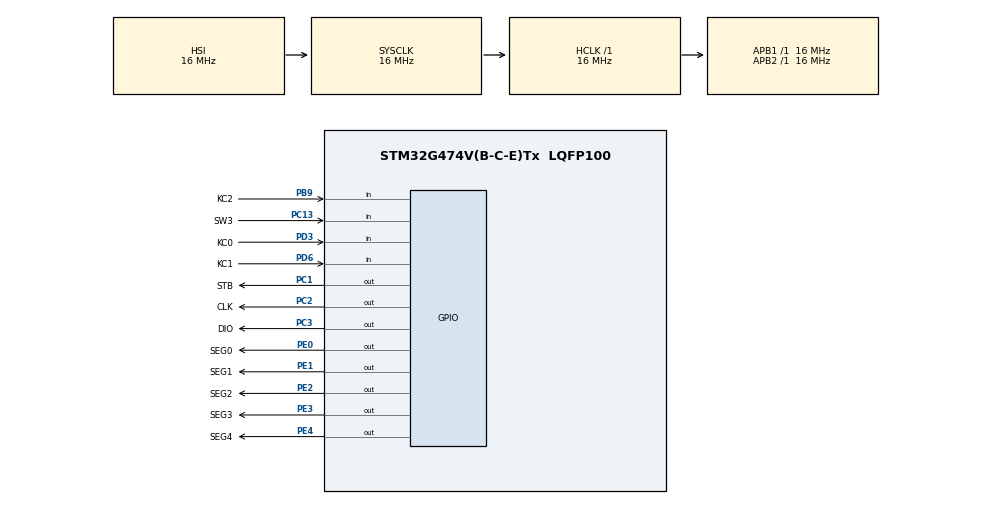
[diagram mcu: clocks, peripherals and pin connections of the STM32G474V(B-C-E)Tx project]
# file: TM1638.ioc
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Mcu.Family=STM32G4
Mcu.Name=STM32G474V(B-C-E)Tx
Mcu.Package=LQFP100
NVIC.PriorityGroup=NVIC_PRIORITYGROUP_4
PB9.GPIO_Label=KC2
PB9.GPIO_PuPd=GPIO_PULLDOWN
PB9.Signal=GPIO_Input
PC1.GPIO_Label=STB
PC1.Signal=GPIO_Output
PC13.GPIO_Label=SW3
PC13.GPIO_PuPd=GPIO_PULLUP
PC13.Signal=GPIO_Input
PC2.GPIO_Label=CLK
PC2.Signal=GPIO_Output
PC3.GPIO_Label=DIO
PC3.Signal=GPIO_Output
PD3.GPIO_Label=KC0
PD3.GPIO_PuPd=GPIO_PULLDOWN
PD3.Signal=GPIO_Input
PD6.GPIO_Label=KC1
PD6.GPIO_PuPd=GPIO_PULLDOWN
PD6.Signal=GPIO_Input
PE0.GPIO_Label=SEG0
PE0.Signal=GPIO_Output
PE1.GPIO_Label=SEG1
PE1.Signal=GPIO_Output
PE2.GPIO_Label=SEG2
PE2.Signal=GPIO_Output
PE3.GPIO_Label=SEG3
PE3.Signal=GPIO_Output
PE4.GPIO_Label=SEG4
PE4.Signal=GPIO_Output
ProjectManager.HeapSize=0x200
ProjectManager.StackSize=0x400
ProjectManager.TargetToolchain=STM32CubeIDE
RCC.AHBFreq_Value=16000000
RCC.APB1Freq_Value=16000000
RCC.APB1TimFreq_Value=16000000
RCC.APB2Freq_Value=16000000
RCC.APB2TimFreq_Value=16000000
RCC.CortexFreq_Value=16000000
RCC.EXTERNAL_CLOCK_VALUE=12288000
RCC.HCLKFreq_Value=16000000
RCC.HSE_VALUE=8000000
RCC.HSI48_VALUE=48000000
RCC.HSI_VALUE=16000000
RCC.LSE_VALUE=32768
RCC.SYSCLKFreq_VALUE=16000000
RCC.USBFreq_Value=64000000
RCC.VCOOutputFreq_Value=128000000
board=custom

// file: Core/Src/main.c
/* USER CODE BEGIN Header */
/**
  ******************************************************************************
  * @file           : main.c
  * @brief          : Main program body
  ******************************************************************************
  * @attention
  *
  * Copyright (c) 2025 STMicroelectronics.
  * All rights reserved.
  *
  * This software is licensed under terms that can be found in the LICENSE file
  * in the root directory of this software component.
  * If no LICENSE file comes with this software, it is provided AS-IS.
  *
  ******************************************************************************
  */
/* USER CODE END Header */
#include "main.h"
#include <stdbool.h>

void SystemClock_Config(void);
static void MX_GPIO_Init(void);

/* USER CODE BEGIN 0 */
#define DATA_SET 0x44
#define DATA_READ 0x42 /////////
#define DISPLAY_ON 0x88
#define DISPLAY_OFF 0x80

uint8_t code[] ={
		0x3F,0x06,0x5B,0x4F,
		0x66,0x6D,0x7D,0x07,
		0x7F,0x67,0x77,0x7C,
		0x39,0x5E,0x79,0x71,
		0x40,0x00
};
int previous_numbers[]={0,0,0,0,0,0,0,0,0,0,0,0,0,0,0,0,0};
int counter_numbers[]={0,0,0,0,0,0,0,0,0,0,0,0,0,0,0,0,0};    //Debouncing

typedef struct
{
    GPIO_TypeDef *clk_port;
    GPIO_TypeDef *dio_port;
    GPIO_TypeDef *stb_port;
    uint16_t clk_pin, dio_pin, stb_pin;
} TM1638;

void tm1638_SendData(TM1638 *tm, uint8_t Data)
{
    uint8_t ByteData[8] = {0};
    // convert data to bit array
    for (uint8_t j = 0; j < 8; j++)
    {
        ByteData[j] = (Data & (0x01 << j)) && 1;
    }
    // send bit array
    for (int8_t j = 0; j < 8; j++)
    {
    	HAL_GPIO_WritePin(tm->clk_port, tm->clk_pin, GPIO_PIN_RESET);
        if (ByteData[j] == GPIO_PIN_SET)
        {
        	HAL_GPIO_WritePin(tm->dio_port, tm->dio_pin, GPIO_PIN_SET);
        }
        else
        {
        	HAL_GPIO_WritePin(tm->dio_port, tm->dio_pin, GPIO_PIN_RESET);
        }
        HAL_GPIO_WritePin(tm->clk_port, tm->clk_pin, GPIO_PIN_SET);
    }
}
void tm1638_SendCommand(TM1638 *tm, uint8_t Data){
	HAL_GPIO_WritePin(tm->stb_port, tm->stb_pin, GPIO_PIN_SET);
	HAL_GPIO_WritePin(tm->stb_port, tm->stb_pin, GPIO_PIN_RESET);
	tm1638_SendData(tm, Data);
	HAL_GPIO_WritePin(tm->stb_port, tm->stb_pin, GPIO_PIN_SET);
}
void tm1638_SendAddress(TM1638 *tm, uint8_t Data, uint8_t address){
	HAL_GPIO_WritePin(tm->stb_port, tm->stb_pin, GPIO_PIN_SET);
	HAL_GPIO_WritePin(tm->stb_port, tm->stb_pin, GPIO_PIN_RESET);
	tm1638_SendData(tm, address);
	tm1638_SendData(tm, Data);
	HAL_GPIO_WritePin(tm->stb_port, tm->stb_pin, GPIO_PIN_SET);
}

//something else

void tm1638_segInit(TM1638 *tm){
	tm1638_SendCommand(tm, DATA_SET);
	tm1638_SendAddress(tm, 0x00, 0xC8);
	tm1638_SendAddress(tm, 0x00, 0xC9);
	tm1638_SendAddress(tm, 0x00, 0xCA);
	tm1638_SendAddress(tm, 0x00, 0xCB);
	tm1638_SendAddress(tm, 0x00, 0xCC);
	tm1638_SendAddress(tm, 0x00, 0xCD);
	tm1638_SendAddress(tm, 0x00, 0xCE);
	tm1638_SendAddress(tm, 0x00, 0xCF);
	tm1638_SendCommand(tm, 0x80);
}
void tm1638_display(TM1638 *tm, uint8_t *numbers){
	tm1638_SendCommand(tm, DATA_SET);
	tm1638_SendAddress(tm, code[numbers[3]], 0xC0);
	tm1638_SendAddress(tm, 0x00, 0xC1);
	tm1638_SendAddress(tm, code[numbers[2]], 0xC2);
	tm1638_SendAddress(tm, 0x00, 0xC3);
	tm1638_SendAddress(tm, code[numbers[1]], 0xC4);
	tm1638_SendAddress(tm, 0x00, 0xC5);
	tm1638_SendAddress(tm, code[numbers[0]], 0xC6);
	tm1638_SendAddress(tm, 0x00, 0xC7);
	tm1638_SendCommand(tm, 0x8B);
}
//Read key function
int tm1638_ReadKey(TM1638 *tm){
	GPIO_InitTypeDef GPIO_InitStruct = {0};
	int a[32] = {0,0,0};
	HAL_GPIO_WritePin(tm->stb_port, tm->stb_pin, GPIO_PIN_SET);
	HAL_GPIO_WritePin(tm->stb_port, tm->stb_pin, GPIO_PIN_RESET);
	tm1638_SendData(tm, DATA_READ);

	int key = -1;

  GPIO_InitStruct.Pin = tm->dio_pin;
  GPIO_InitStruct.Mode = GPIO_MODE_INPUT;
  HAL_GPIO_Init(tm->dio_port, &GPIO_InitStruct);
	//pause for more than 1 us
  for(int i=0;i<4;++i){
  	HAL_GPIO_WritePin(tm->clk_port, tm->clk_pin, GPIO_PIN_SET);
  	for(int j=0;j<8;++j){
  		HAL_GPIO_WritePin(tm->clk_port, tm->clk_pin, GPIO_PIN_SET);
  		a[i * 8 + j] = HAL_GPIO_ReadPin(tm->dio_port, tm->dio_pin);
  		HAL_GPIO_WritePin(tm->clk_port, tm->clk_pin, GPIO_PIN_RESET);
  	}
  }
	HAL_GPIO_WritePin(tm->clk_port, tm->clk_pin, GPIO_PIN_SET);
	HAL_GPIO_WritePin(tm->stb_port, tm->stb_pin, GPIO_PIN_SET);

	HAL_GPIO_WritePin(tm->stb_port, tm->stb_pin, GPIO_PIN_SET);
  GPIO_InitStruct.Mode = GPIO_MODE_OUTPUT_PP;
  HAL_GPIO_Init(tm->dio_port, &GPIO_InitStruct);

	for(int k=0;k<4;k++){
		if(a[k*8+1]!=previous_numbers[k]){
			counter_numbers[k]++;
			if(counter_numbers[k] == 10){
				previous_numbers[k] = a[k*8+1];
					if(a[k*8+1])key=k;
			}
		}else counter_numbers[k]=0;
	}
	for(int k=0;k<4;k++){
		if(a[k*8+5]!=previous_numbers[k]){
			counter_numbers[k+4]++;
			if(counter_numbers[k+4] == 10){
				previous_numbers[k+4] = a[k*8+5];
					if(a[k*8+5])key=k+4;
			}
		}else counter_numbers[k+4]=0;
	}
	//***************************************
	for(int row=3 ;row<5;row++){
		set_keyboard_row(row);
  	int a = HAL_GPIO_ReadPin(KC0_GPIO_Port, KC0_Pin);
  	int b = HAL_GPIO_ReadPin(KC1_GPIO_Port, KC1_Pin);
  	int c = HAL_GPIO_ReadPin(KC2_GPIO_Port, KC2_Pin);
  	int aa = row*3+1;
  	int bb = row*3+2;
  	int cc = row*3+3;

  	if(a != previous_numbers[aa]){
  		counter_numbers[aa]+=1;
  		if(counter_numbers[aa] == 10){
  			previous_numbers[aa] = a;
  				if(a)key= aa;
  		}
  	}else counter_numbers[aa]=0;

  	if(b != previous_numbers[bb]){
  		counter_numbers[bb]+=1;
  		if(counter_numbers[bb] == 10){
  			previous_numbers[bb] = b;
  				if(b)key = bb;
  		}
  	}else counter_numbers[bb]=0;

  	if(c != previous_numbers[cc]){
  		counter_numbers[cc]+=1;
  		if(counter_numbers[cc] == 10){
  			previous_numbers[cc] = c;
  				if(c)key = cc;
  		}
  	}else counter_numbers[cc]=0;
	}
	// 16th button pullup mode
	int temp = HAL_GPIO_ReadPin(SW3_GPIO_Port, SW3_Pin);
	if(temp != previous_numbers[16]){
		counter_numbers[16]+=1;
		if(counter_numbers[16]==10){
			previous_numbers[16] = temp;
			if(!temp)key= 16;
		}
	}else counter_numbers[16] = 0;

  return key;
}
//**********************************************
void rezero(uint8_t *numbers){
	numbers[0]=0;
	numbers[1]=17;
	numbers[2]=17;
	numbers[3]=17;
}
void num_to_array(int num, uint8_t *numbers){
	if(!num)rezero(numbers);
	int count = 0;
	while(num){
		numbers[count] = num %10;
		num = num /10;
		count++;
	}
	for(;count<=3;count++){
		numbers[count]=17;
	}
}
int power(int n){
	int res = 1;
	while(n){
		res*=10;
		n--;
	}
	return res;
}
int array_to_num(uint8_t *numbers){
	int i = 0;
	int result = 0;
	while(numbers[i]!=17 && i<4){
		result += power(i)*numbers[i];
		i++;
	}
	return result;
}
int operand_1 = 0;
int operand_2 = 0;
int oper = 0;
int result = 0;
bool is_start = true;
bool can_calculate = false;

void init_all(){
	operand_1 = 0;
	operand_2 = 0;
	oper=0;
	result = 0;
	is_start = true;
	can_calculate = false;
}
//**********************************************
void set_keyboard_row(int8_t which)
{
  HAL_GPIO_WritePin(SEG0_GPIO_Port, SEG0_Pin, GPIO_PIN_RESET);
  HAL_GPIO_WritePin(SEG1_GPIO_Port, SEG1_Pin, GPIO_PIN_RESET);
  HAL_GPIO_WritePin(SEG2_GPIO_Port, SEG2_Pin, GPIO_PIN_RESET);
  HAL_GPIO_WritePin(SEG3_GPIO_Port, SEG3_Pin, GPIO_PIN_RESET);
  HAL_GPIO_WritePin(SEG4_GPIO_Port, SEG4_Pin, GPIO_PIN_RESET);
  switch (which)
  {
  case 0:HAL_GPIO_WritePin(SEG0_GPIO_Port, SEG0_Pin, GPIO_PIN_SET);break;
  case 1:HAL_GPIO_WritePin(SEG1_GPIO_Port, SEG1_Pin, GPIO_PIN_SET);break;
  case 2:HAL_GPIO_WritePin(SEG2_GPIO_Port, SEG2_Pin, GPIO_PIN_SET);break;
  case 3:HAL_GPIO_WritePin(SEG3_GPIO_Port, SEG3_Pin, GPIO_PIN_SET);break;
  case 4:HAL_GPIO_WritePin(SEG4_GPIO_Port, SEG4_Pin, GPIO_PIN_SET);break;
  }
}
int ReadKeyboard(){
	for(int row=0 ;row<5;row++){
		set_keyboard_row(row);
  	int a = HAL_GPIO_ReadPin(KC0_GPIO_Port, KC0_Pin);
  	int b = HAL_GPIO_ReadPin(KC1_GPIO_Port, KC1_Pin);
  	int c = HAL_GPIO_ReadPin(KC2_GPIO_Port, KC2_Pin);
  	int aa = row*3+1;
  	int bb = row*3+2;
  	int cc = row*3+3;

  	if(a != previous_numbers[aa]){
  		counter_numbers[aa]+=1;
  		if(counter_numbers[aa] == 10){
  			previous_numbers[aa] = a;
  				if(a)return aa;
  		}
  	}else counter_numbers[aa]=0;

  	if(b != previous_numbers[bb]){
  		counter_numbers[bb]+=1;
  		if(counter_numbers[bb] == 10){
  			previous_numbers[bb] = b;
  				if(b)return bb;
  		}
  	}else counter_numbers[bb]=0;

  	if(c != previous_numbers[cc]){
  		counter_numbers[cc]+=1;
  		if(counter_numbers[cc] == 10){
  			previous_numbers[cc] = c;
  				if(c)return cc;
  		}
  	}else counter_numbers[cc]=0;
	}
	// 16th button pullup mode
	int temp = HAL_GPIO_ReadPin(SW3_GPIO_Port, SW3_Pin);
	if(temp != previous_numbers[16]){
		counter_numbers[16]+=1;
		if(counter_numbers[16]==10){
			previous_numbers[16] = temp;
			if(!temp)return 16;
		}
	}else counter_numbers[16] = 0;

	return -1;
}
/* USER CODE END 0 */

int main(void)
{

  /* MCU Configuration--------------------------------------------------------*/

  /* Reset of all peripherals, Initializes the Flash interface and the Systick. */
  HAL_Init();

  /* Configure the system clock */
  SystemClock_Config();

  /* Initialize all configured peripherals */
  MX_GPIO_Init();
  /* USER CODE BEGIN 2 */
  TM1638 TM;
  TM.clk_port= CLK_GPIO_Port;
  TM.clk_pin = CLK_Pin;
  TM.stb_port= STB_GPIO_Port;
  TM.stb_pin = STB_Pin;
  TM.dio_port= DIO_GPIO_Port;
  TM.dio_pin = DIO_Pin;

  uint8_t numbers[]={0,17,17,17};

  tm1638_segInit(&TM);

  //int delay =0;
  int period = 0;
  /* USER CODE END 2 */

  /* Infinite loop */
  while (1)
  {

    /* USER CODE BEGIN 3 */
  	if(!period){
  		tm1638_display(&TM, numbers);
  	}
  	else{
  		int read = tm1638_ReadKey(&TM);
  		//int read = ReadKeyboard();
  	if(read != -1){

  		if((1<=read && read<=9 )|| read ==11){
				if(numbers[3]!=17){HAL_Delay(499);rezero(numbers);init_all();}
				else{
					for(int i = 2;i>=0;i--){
						numbers[i+1]=numbers[i];
					}
					numbers[0] = (read == 11) ? 0 : read;
					if(is_start){
						numbers[1]=17;
						if(read!=11)is_start = false;
					}
				}
  		}

  		else if(read == 10){
  			rezero(numbers);
  			init_all();
  		}

  		else if(read == 12 && can_calculate){
  			operand_2 = array_to_num(numbers);
  			switch(oper){
  				case 13 :result = operand_1 + operand_2;break;
  				case 14 :result = operand_1 - operand_2;break;
  				case 15 :result = operand_1 * operand_2;break;
  				case 16 :result = operand_1 / operand_2;break;
  			}
  			if(0<result && result<10000){
  				num_to_array(result, numbers);
  			}
  			else if(result <0 && result >=-999){
  				num_to_array(-result, numbers);
  				if(result<-99)numbers[3]=16;
  				else if(result<-9)numbers[2]=16;
  				else numbers[1]=16;
  			}
  			else{rezero(numbers);}
  				init_all();
  		}

  		else if(13<=read && read<=16){
  			oper = read;
  			operand_1 = array_to_num(numbers);
  			can_calculate = true;
  			rezero(numbers);
  			is_start = true;
  		}

  	}
  	}
  	period = 1- period;

  }
  /* USER CODE END 3 */
}

void SystemClock_Config(void)
{
  RCC_OscInitTypeDef RCC_OscInitStruct = {0};
  RCC_ClkInitTypeDef RCC_ClkInitStruct = {0};

  /** Configure the main internal regulator output voltage
  */
  HAL_PWREx_ControlVoltageScaling(PWR_REGULATOR_VOLTAGE_SCALE1);

  /** Initializes the RCC Oscillators according to the specified parameters
  * in the RCC_OscInitTypeDef structure.
  */
  RCC_OscInitStruct.OscillatorType = RCC_OSCILLATORTYPE_HSI;
  RCC_OscInitStruct.HSIState = RCC_HSI_ON;
  RCC_OscInitStruct.HSICalibrationValue = RCC_HSICALIBRATION_DEFAULT;
  RCC_OscInitStruct.PLL.PLLState = RCC_PLL_NONE;
  if (HAL_RCC_OscConfig(&RCC_OscInitStruct) != HAL_OK)
  {
    Error_Handler();
  }

  /** Initializes the CPU, AHB and APB buses clocks
  */
  RCC_ClkInitStruct.ClockType = RCC_CLOCKTYPE_HCLK|RCC_CLOCKTYPE_SYSCLK
                              |RCC_CLOCKTYPE_PCLK1|RCC_CLOCKTYPE_PCLK2;
  RCC_ClkInitStruct.SYSCLKSource = RCC_SYSCLKSOURCE_HSI;
  RCC_ClkInitStruct.AHBCLKDivider = RCC_SYSCLK_DIV1;
  RCC_ClkInitStruct.APB1CLKDivider = RCC_HCLK_DIV1;
  RCC_ClkInitStruct.APB2CLKDivider = RCC_HCLK_DIV1;

  if (HAL_RCC_ClockConfig(&RCC_ClkInitStruct, FLASH_LATENCY_0) != HAL_OK)
  {
    Error_Handler();
  }
}

static void MX_GPIO_Init(void)
{
  GPIO_InitTypeDef GPIO_InitStruct = {0};

  /* GPIO Ports Clock Enable */
  __HAL_RCC_GPIOE_CLK_ENABLE();
  __HAL_RCC_GPIOC_CLK_ENABLE();
  __HAL_RCC_GPIOD_CLK_ENABLE();
  __HAL_RCC_GPIOB_CLK_ENABLE();

  /*Configure GPIO pin Output Level */
  HAL_GPIO_WritePin(GPIOE, SEG2_Pin|SEG3_Pin|SEG4_Pin|SEG0_Pin
                          |SEG1_Pin, GPIO_PIN_RESET);

  /*Configure GPIO pin Output Level */
  HAL_GPIO_WritePin(GPIOC, STB_Pin|CLK_Pin|DIO_Pin, GPIO_PIN_RESET);

  /*Configure GPIO pins : SEG2_Pin SEG3_Pin SEG4_Pin SEG0_Pin
                           SEG1_Pin */
  GPIO_InitStruct.Pin = SEG2_Pin|SEG3_Pin|SEG4_Pin|SEG0_Pin
                          |SEG1_Pin;
  GPIO_InitStruct.Mode = GPIO_MODE_OUTPUT_PP;
  GPIO_InitStruct.Pull = GPIO_NOPULL;
  GPIO_InitStruct.Speed = GPIO_SPEED_FREQ_LOW;
  HAL_GPIO_Init(GPIOE, &GPIO_InitStruct);

  /*Configure GPIO pin : SW3_Pin */
  GPIO_InitStruct.Pin = SW3_Pin;
  GPIO_InitStruct.Mode = GPIO_MODE_INPUT;
  GPIO_InitStruct.Pull = GPIO_PULLUP;
  HAL_GPIO_Init(SW3_GPIO_Port, &GPIO_InitStruct);

  /*Configure GPIO pins : STB_Pin CLK_Pin DIO_Pin */
  GPIO_InitStruct.Pin = STB_Pin|CLK_Pin|DIO_Pin;
  GPIO_InitStruct.Mode = GPIO_MODE_OUTPUT_PP;
  GPIO_InitStruct.Pull = GPIO_NOPULL;
  GPIO_InitStruct.Speed = GPIO_SPEED_FREQ_LOW;
  HAL_GPIO_Init(GPIOC, &GPIO_InitStruct);

  /*Configure GPIO pins : KC0_Pin KC1_Pin */
  GPIO_InitStruct.Pin = KC0_Pin|KC1_Pin;
  GPIO_InitStruct.Mode = GPIO_MODE_INPUT;
  GPIO_InitStruct.Pull = GPIO_PULLDOWN;
  HAL_GPIO_Init(GPIOD, &GPIO_InitStruct);

  /*Configure GPIO pin : KC2_Pin */
  GPIO_InitStruct.Pin = KC2_Pin;
  GPIO_InitStruct.Mode = GPIO_MODE_INPUT;
  GPIO_InitStruct.Pull = GPIO_PULLDOWN;
  HAL_GPIO_Init(KC2_GPIO_Port, &GPIO_InitStruct);

}

void Error_Handler(void)
{
  __disable_irq();
  while (1)
  {
  }
}
